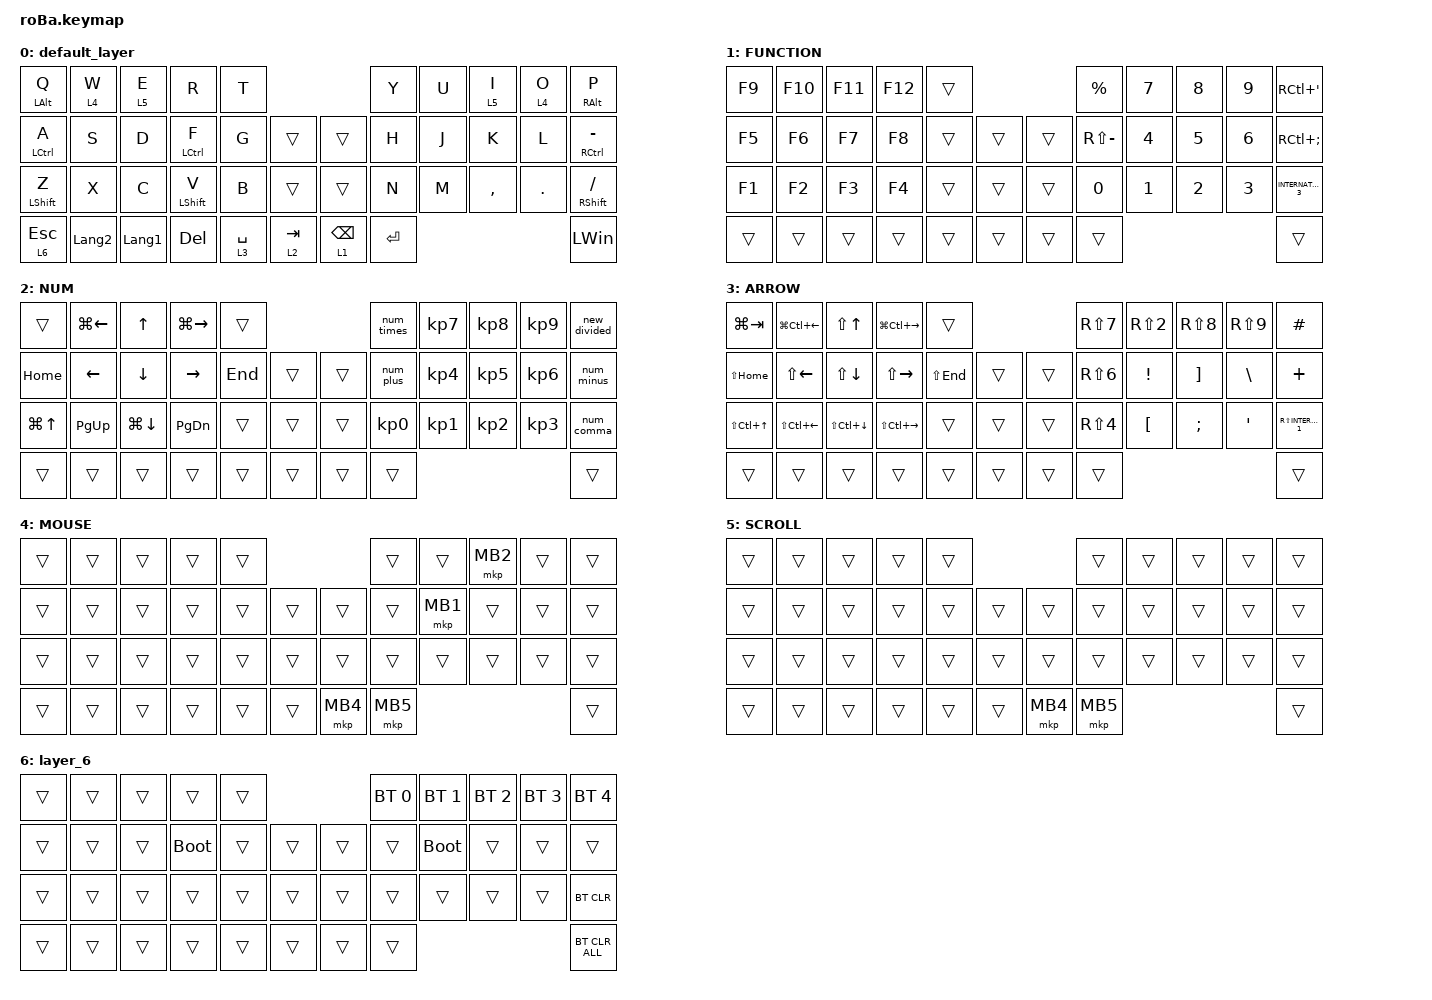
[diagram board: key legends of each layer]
#include <behaviors.dtsi>
#include <dt-bindings/zmk/bt.h>
#include <dt-bindings/zmk/keys.h>
#include <dt-bindings/zmk/pointing.h>

&mt {
    flavor = "balanced";
    quick-tap-ms = <0>;
};

/ {
    combos {
        compatible = "zmk,combos";

        Number1 {
            bindings = <&none>;
            key-positions = <40 30>;
        };
    };

    macros {
        to_layer_0: to_layer_0 {
            compatible = "zmk,behavior-macro-one-param";
            #binding-cells = <1>;
            bindings = <&to 0 &macro_param_1to1 &kp MACRO_PLACEHOLDER>;
            label = "TO_LAYER_0";
        };

        num_comma: num_comma {
            compatible = "zmk,behavior-macro";
            #binding-cells = <0>;
            bindings = <&kp LANG2 &kp COMMA &kp LANG1>;
            label = "NUM_COMMA";
        };

        num_plus: num_plus {
            compatible = "zmk,behavior-macro";
            #binding-cells = <0>;
            bindings = <&kp LANG2 &kp RS(COLON) &kp LANG1>;
            label = "NUM_PLUS";
        };

        num_minus: num_minus {
            compatible = "zmk,behavior-macro";
            #binding-cells = <0>;
            bindings = <&kp LANG2 &kp MINUS &kp LANG1>;
            label = "NUM_MINUS";
        };

        num_times: num_times {
            compatible = "zmk,behavior-macro";
            #binding-cells = <0>;
            bindings = <&kp LANG2 &kp RS(DOUBLE_QUOTES) &kp LANG1>;
            label = "NUM_TIMES";
        };

        new_divided: new_divided {
            compatible = "zmk,behavior-macro";
            #binding-cells = <0>;
            bindings = <&kp LANG2 &kp SLASH &kp LANG1>;
            label = "NEW_DIVIDED";
        };
    };

    behaviors {
        lt_to_layer_0: lt_to_layer_0 {
            compatible = "zmk,behavior-hold-tap";
            label = "LAYER_TAP_TO_0";
            bindings = <&mo>, <&to_layer_0>;

            #binding-cells = <2>;
            tapping-term-ms = <200>;
        };
    };

    keymap {
        compatible = "zmk,keymap";

        default_layer {
            bindings = <
&mt LEFT_ALT Q      &lt 4 W         &lt 5 E         &kp R               &kp T                                        &kp Y      &kp U  &lt 5 I    &lt 4 O  &mt RIGHT_ALT P
&mt LEFT_CONTROL A  &kp S           &kp D           &mt LEFT_CONTROL F  &kp G        &trans         &trans           &kp H      &kp J  &kp K      &kp L    &mt RIGHT_CONTROL MINUS
&mt LEFT_SHIFT Z    &kp X           &kp C           &mt LEFT_SHIFT V    &kp B        &trans         &trans           &kp N      &kp M  &kp COMMA  &kp DOT  &mt RIGHT_SHIFT SLASH
&lt 6 ESCAPE        &kp LANGUAGE_2  &kp LANGUAGE_1  &kp DELETE          &lt 3 SPACE  &lt 2 TAB      &lt 1 BACKSPACE  &kp ENTER                             &kp LEFT_WIN
            >;
        };

        FUNCTION {
            bindings = <
&kp F9  &kp F10  &kp F11  &kp F12  &trans                      &kp PERCENT    &kp N7  &kp N8  &kp N9  &kp RC(APOSTROPHE)
&kp F5  &kp F6   &kp F7   &kp F8   &trans  &trans      &trans  &kp RS(MINUS)  &kp N4  &kp N5  &kp N6  &kp RC(SEMICOLON)
&kp F1  &kp F2   &kp F3   &kp F4   &trans  &trans      &trans  &kp N0         &kp N1  &kp N2  &kp N3  &kp INTERNATIONAL_3
&trans  &trans   &trans   &trans   &trans  &trans      &trans  &trans                                 &trans
            >;
        };

        NUM {
            bindings = <
&trans            &kp LG(LEFT_ARROW)  &kp UP_ARROW        &kp LG(RIGHT_ARROW)  &trans                       &num_times       &kp KP_NUMBER_7  &kp KP_NUMBER_8  &kp KP_NUMBER_9  &new_divided
&kp HOME          &kp LEFT_ARROW      &kp DOWN_ARROW      &kp RIGHT_ARROW      &kp END  &trans      &trans  &num_plus        &kp KP_NUMBER_4  &kp KP_NUMBER_5  &kp KP_NUMBER_6  &num_minus
&kp LG(UP_ARROW)  &kp PAGE_UP         &kp LG(DOWN_ARROW)  &kp PAGE_DOWN        &trans   &trans      &trans  &kp KP_NUMBER_0  &kp KP_NUMBER_1  &kp KP_NUMBER_2  &kp KP_NUMBER_3  &num_comma
&trans            &trans              &trans              &trans               &trans   &trans      &trans  &trans                                                              &trans
            >;
        };

        ARROW {
            bindings = <
&kp LG(TAB)           &kp LG(LC(LEFT))        &kp LS(UP_ARROW)        &kp LG(LC(RIGHT_ARROW))  &trans                           &kp RS(N7)  &kp RS(N2)        &kp RS(N8)         &kp RS(N9)        &kp HASH
&kp LS(HOME)          &kp LS(LEFT_ARROW)      &kp LS(DOWN_ARROW)      &kp LS(RIGHT_ARROW)      &kp LS(END)  &trans      &trans  &kp RS(N6)  &kp EXCLAMATION   &kp RIGHT_BRACKET  &kp BACKSLASH     &kp PLUS
&kp LS(LC(UP_ARROW))  &kp LS(LC(LEFT_ARROW))  &kp LS(LC(DOWN_ARROW))  &kp LS(LC(RIGHT_ARROW))  &trans       &trans      &trans  &kp RS(N4)  &kp LEFT_BRACKET  &kp SEMICOLON      &kp SINGLE_QUOTE  &kp RS(INTERNATIONAL_1)
&trans                &trans                  &trans                  &trans                   &trans       &trans      &trans  &trans                                                             &trans
            >;
        };

        MOUSE {
            bindings = <
&trans  &trans  &trans  &trans  &trans                        &trans    &trans    &mkp MB2  &trans  &trans
&trans  &trans  &trans  &trans  &trans  &trans      &trans    &trans    &mkp MB1  &trans    &trans  &trans
&trans  &trans  &trans  &trans  &trans  &trans      &trans    &trans    &trans    &trans    &trans  &trans
&trans  &trans  &trans  &trans  &trans  &trans      &mkp MB4  &mkp MB5                              &trans
            >;
        };

        SCROLL {
            bindings = <
&trans  &trans  &trans  &trans  &trans                        &trans    &trans  &trans  &trans  &trans
&trans  &trans  &trans  &trans  &trans  &trans      &trans    &trans    &trans  &trans  &trans  &trans
&trans  &trans  &trans  &trans  &trans  &trans      &trans    &trans    &trans  &trans  &trans  &trans
&trans  &trans  &trans  &trans  &trans  &trans      &mkp MB4  &mkp MB5                          &trans
            >;
        };

        layer_6 {
            bindings = <
&trans  &trans  &trans  &trans       &trans                      &bt BT_SEL 0  &bt BT_SEL 1  &bt BT_SEL 2  &bt BT_SEL 3  &bt BT_SEL 4
&trans  &trans  &trans  &bootloader  &trans  &trans      &trans  &trans        &bootloader   &trans        &trans        &trans
&trans  &trans  &trans  &trans       &trans  &trans      &trans  &trans        &trans        &trans        &trans        &bt BT_CLR
&trans  &trans  &trans  &trans       &trans  &trans      &trans  &trans                                                  &bt BT_CLR_ALL
            >;
        };
    };
};
